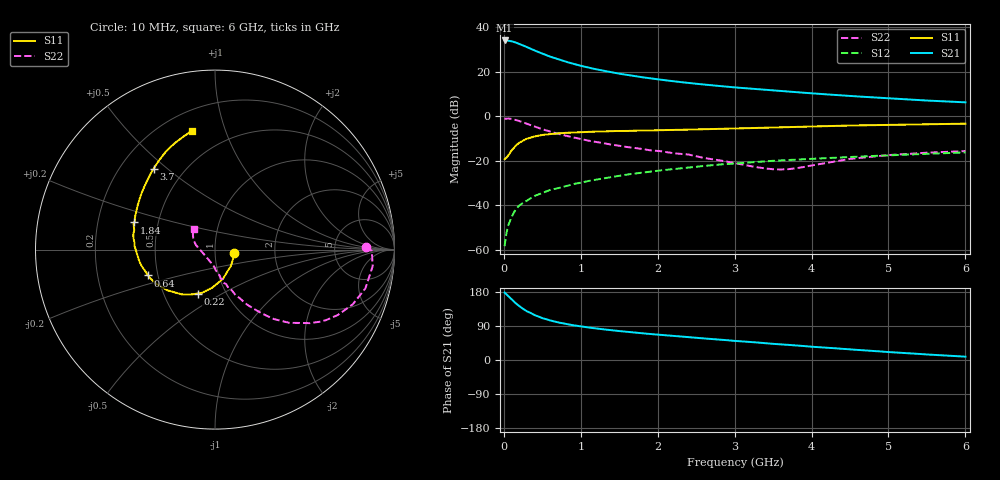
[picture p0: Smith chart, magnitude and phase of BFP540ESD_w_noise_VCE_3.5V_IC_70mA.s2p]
! (c) 2015  Infineon Technologies AG, Munich
! Infineon Technologies  Discrete & RF Semiconductors
! BFP540ESD
! VCE =  3.5 V,  IC =  70 mA
! Common Emitter S-Parameters:  Nov 2015
# GHz  S  MA  R  50
!  f  S11  S21  S12  S22
! GHz  MAG  ANG  MAG  ANG  MAG  ANG  MAG  ANG
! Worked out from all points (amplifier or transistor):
!   210 points, 10 MHz to 6 GHz, reference 50 ohm
!   highest |S21| = 33.9 dB at 10 MHz (marker M1)
!   |S21| within 3 dB of that: start of sweep to 301 MHz
!   unconditionally stable (mu >= 1): start of sweep to 33.66 MHz; 1.184 GHz to end of sweep
!   at 185 MHz: K = 0.46, MSG = 36.7 dB, |S12| = -40.7 dB
!   at 1.52 GHz: K = 1.06, MAG = 21.4 dB, |S12| = -26.8 dB
!   at 6 GHz: K = 1.11, MAG = 9.2 dB, |S12| = -16.3 dB
!   lowest NFmin = 2.19 dB at 900 MHz
!   S11 on the Smith chart (normalised r, x): 10 MHz: 1.23, -0.05; 220 MHz: 0.74, -0.39; 640 MHz: 0.44, -0.15; 1.84 GHz: 0.36, +0.14; 3.7 GHz: 0.34, +0.45; 6 GHz: 0.32, +0.78
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0.01  0.1074 -11.3  49.8 177.9  0.0012 120.1  0.8403 0.8
0.02  0.112 -22.8  49.46 176.3  0.0016 100.1  0.8735 -0.4
0.05  0.1272 -46.1  49.47 169.9  0.0032 83.8  0.8833 -6.0
0.105  0.1723 -77.3  47.52 158.9  0.0055 79.9  0.8606 -15.2
0.15  0.2124 -94.0  45.13 150.4  0.0078 75.9  0.8255 -21.7
0.2  0.2521 -107.0  41.9 142.1  0.0098 73.9  0.7748 -28.1
0.22  0.2632 -111.6  40.48 139.4  0.0104 72.2  0.7534 -30.2
0.26  0.2878 -119.6  37.85 133.7  0.0116 70.0  0.7124 -34.3
0.3  0.311 -126.7  35.31 128.5  0.0126 70.4  0.6701 -37.7
0.4  0.3492 -139.5  29.63 118.4  0.0161 68.9  0.581 -44.6
0.5  0.3766 -149.1  25.22 110.5  0.0187 66.3  0.507 -49.7
0.64  0.3996 -158.9  20.54 102.7  0.0227 67.2  0.4296 -54.4
0.8  0.4201 -167.9  16.69 95.3  0.0265 66.8  0.3627 -59.2
1.02  0.4357 -177.0  13.21 88.0  0.0325 66.8  0.2997 -63.4
1.4  0.4593 171.7  9.619 78.5  0.0428 65.2  0.2277 -70.8
1.84  0.4751 161.4  7.272 69.8  0.055 62.3  0.1781 -76.3
2.02  0.4819 157.5  6.604 66.6  0.0598 60.9  0.1639 -78.6
3.1  0.5309 136.9  4.268 49.1  0.0885 51.8  0.0815 -101.9
3.7  0.5656 127.1  3.54 39.9  0.1032 46.0  0.0643 -149.7
4.1  0.5893 121.4  3.152 33.8  0.1118 42.2  0.0832 -179.4
5.1  0.6391 109.3  2.448 19.8  0.1334 32.8  0.1361 152.9
6  0.6748 100.8  2.032 8.7  0.1526 25.3  0.164 134.8
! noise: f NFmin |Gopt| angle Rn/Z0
0.9  2.19  0.56  -140  0.19
1.8  2.37  0.58  -141  0.19
2.4  2.45  0.6  -131  0.27
3  2.62  0.61  -121  0.38
4  2.73  0.68  -101  0.74
5  2.88  0.76  -86  1.12
6  3.49  0.68  -82  1.8
